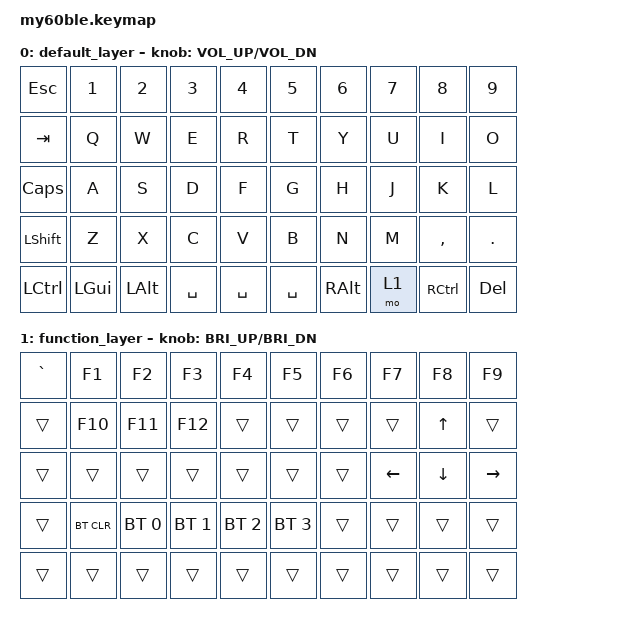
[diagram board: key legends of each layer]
#include <behaviors.dtsi>
#include <dt-bindings/zmk/keys.h>
#include <dt-bindings/zmk/bt.h>

/ {
    keymap {
        compatible = "zmk,keymap";
        
        default_layer {
            bindings = <
                &kp ESC   &kp N1    &kp N2    &kp N3    &kp N4    &kp N5    &kp N6    &kp N7    &kp N8    &kp N9
                &kp TAB   &kp Q     &kp W     &kp E     &kp R     &kp T     &kp Y     &kp U     &kp I     &kp O
                &kp CAPS  &kp A     &kp S     &kp D     &kp F     &kp G     &kp H     &kp J     &kp K     &kp L
                &kp LSHFT &kp Z     &kp X     &kp C     &kp V     &kp B     &kp N     &kp M     &kp COMMA &kp DOT
                &kp LCTRL &kp LGUI  &kp LALT  &kp SPACE &kp SPACE &kp SPACE &kp RALT  &mo 1     &kp RCTRL &kp DEL
            >;
            sensor-bindings = <&inc_dec_kp C_VOL_UP C_VOL_DN>;
        };
        
        function_layer {
            bindings = <
                &kp GRAVE &kp F1       &kp F2       &kp F3       &kp F4       &kp F5       &kp F6    &kp F7    &kp F8    &kp F9
                &trans    &kp F10      &kp F11      &kp F12      &trans       &trans       &trans    &trans    &kp UP    &trans
                &trans    &trans       &trans       &trans       &trans       &trans       &trans    &kp LEFT  &kp DOWN  &kp RIGHT
                &trans    &bt BT_CLR   &bt BT_SEL 0 &bt BT_SEL 1 &bt BT_SEL 2 &bt BT_SEL 3 &trans    &trans    &trans    &trans
                &trans    &trans       &trans       &trans       &trans       &trans       &trans    &trans    &trans    &trans
            >;
            sensor-bindings = <&inc_dec_kp C_BRI_UP C_BRI_DN>;
        };
    };
};
